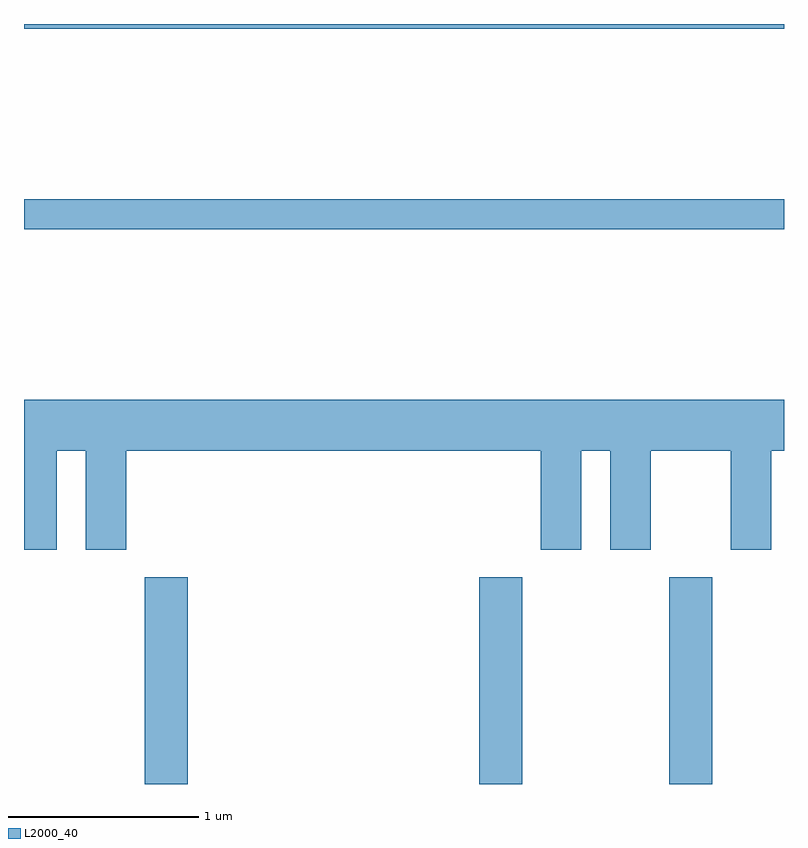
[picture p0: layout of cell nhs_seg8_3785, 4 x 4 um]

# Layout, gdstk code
import gdstk
lib = gdstk.Library(unit=1e-6, precision=1e-09)
def R(c, l, rs):  # rectangles x0, y0, x1, y1
    for r in rs: c.add(gdstk.rectangle(r[:2], r[2:], *l))
def P(c, l, *ps):  # polygons
    for p in ps: c.add(gdstk.Polygon(p, *l))
L2000_40 = (2000, 40)

nhs_seg8_3785 = lib.new_cell('nhs_seg8_3785')
R(nhs_seg8_3785, L2000_40, [(298.246,1932.342,298.474,1933.429), (300.006,1932.342,300.234,1933.429), (301.006,1932.342,301.234,1933.429), (297.611,1935.261,301.611,1935.419), (297.611,1936.316,301.611,1936.342)])
P(nhs_seg8_3785, L2000_40, [(297.784,1934.096),(297.936,1934.096),(297.936,1933.576),(298.149,1933.576),(298.149,1934.096),(300.331,1934.096),(300.331,1933.576),(300.544,1933.576),(300.544,1934.096),(300.696,1934.096),(300.696,1933.576),(300.909,1933.576),(300.909,1934.096),(301.331,1934.096),(301.331,1933.576),(301.544,1933.576),(301.544,1934.096),(301.611,1934.096),(301.611,1934.364),(297.611,1934.364),(297.611,1933.576),(297.784,1933.576)])

lib.write_gds('nhs_seg8_3785.gds')
